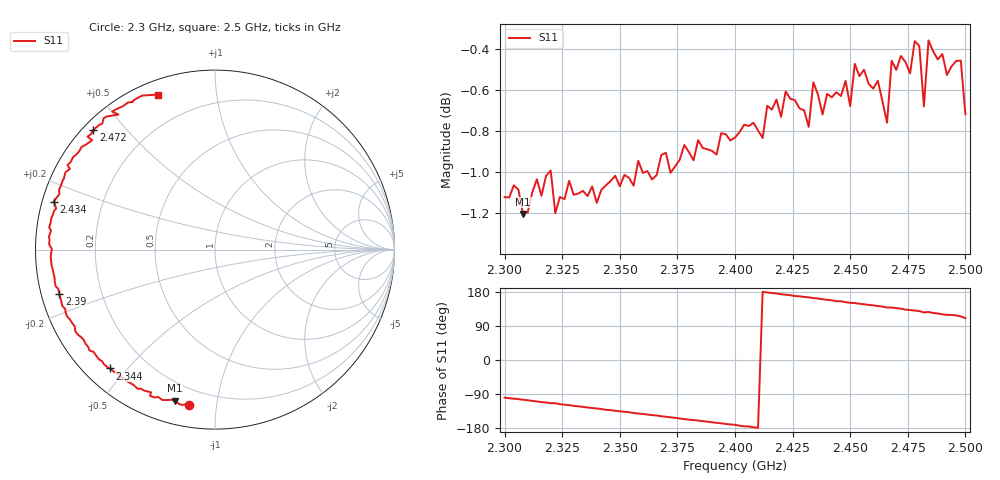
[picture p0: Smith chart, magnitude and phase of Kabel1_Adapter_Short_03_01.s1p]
# HZ S RI R 50
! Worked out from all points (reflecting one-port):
!   101 points, 2.3 GHz to 2.5 GHz, reference 50 ohm
!   lowest |S11| = -1.2 dB at 2.308 GHz (marker M1), VSWR 14.47, Z = 5.48 - j38.2 ohm
!   phase of S11 starts at -99 deg and turns -150 deg over the sweep
!   S11 on the Smith chart (normalised r, x): 2.3 GHz: 0.11, -0.84; 2.344 GHz: 0.07, -0.45; 2.39 GHz: 0.05, -0.14; 2.434 GHz: 0.03, +0.15; 2.472 GHz: 0.03, +0.41; 2.5 GHz: 0.06, +0.69
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2.3e9  -0.1421 -0.8674
2.308e9  -0.2238 -0.8415
2.318e9  -0.3351 -0.8239
2.322e9  -0.3566 -0.7948
2.326e9  -0.4128 -0.7749
2.344e9  -0.5868 -0.6622
2.35e9  -0.629 -0.6217
2.376e9  -0.8095 -0.3877
2.39e9  -0.868 -0.2455
2.4e9  -0.8974 -0.1432
2.414e9  -0.9246 0.0302
2.426e9  -0.9103 0.1804
2.434e9  -0.8982 0.2679
2.45e9  -0.8083 0.4496
2.452e9  -0.8218 0.4707
2.456e9  -0.7915 0.5143
2.462e9  -0.7443 0.5711
2.466e9  -0.6844 0.6093
2.468e9  -0.7099 0.6293
2.472e9  -0.6776 0.6677
2.476e9  -0.6277 0.7025
2.48e9  -0.6042 0.7416
2.482e9  -0.5377 0.7524
2.484e9  -0.5731 0.7696
2.492e9  -0.4571 0.8226
2.496e9  -0.4384 0.8412
2.498e9  -0.4042 0.8584
2.5e9  -0.32 0.8633
